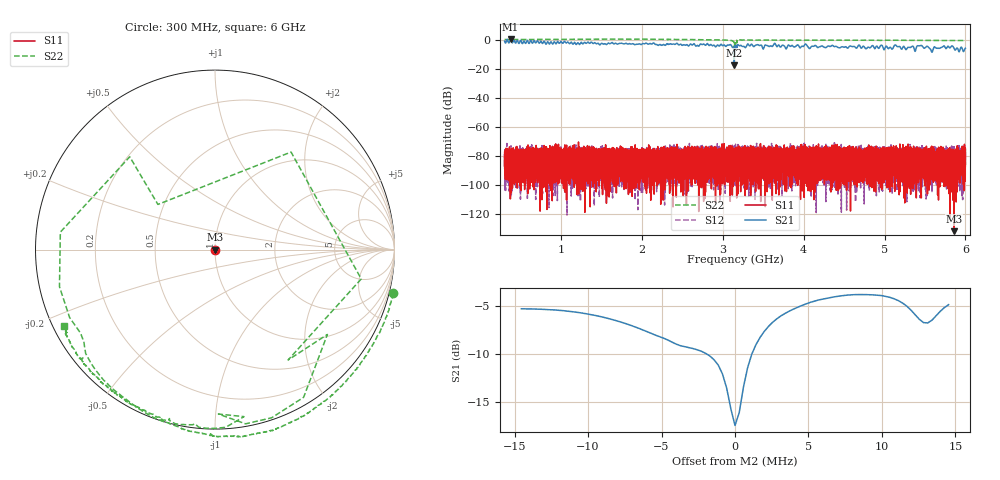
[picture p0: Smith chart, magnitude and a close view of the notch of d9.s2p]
!Agilent Technologies,N5230C,SG49000117,A.08.50.07
!Agilent N5230C: A.08.50.07
!Date: Monday, March 18, 2024 18:09:14
!Correction: S11(Off)
!S21(Off)
!S12(Off)
!S22(Full 1 Port(2))
!S2P File: Measurements: S11, S21, S12, S22:
# Hz S  RI  R 50
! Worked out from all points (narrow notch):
!   20001 points, 300 MHz to 6 GHz, reference 50 ohm
!   highest |S21| = 0.43 dB at 373.8 MHz (marker M1); lowest = -17.5 dB at 3.141 GHz (marker M2)
!   notch at M2: 13.7 dB deep, 2.43 MHz wide at half that depth
!   lowest |S11| = -132.1 dB at 5.859 GHz (marker M3), VSWR 1.00, Z = 50 - j1.95e-05 ohm
!   |S11| at or under -10 dB: start of sweep to end of sweep
!   |S22| runs from -13.2 to 0.5 dB; largest |S21 - S12| = 1.1
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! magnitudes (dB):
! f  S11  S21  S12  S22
! 300 MHz  -81.6  -1.0  -86.7  0.2
! 373.8 MHz  -78.6  0.4  -81.7  0.2
! 1.25 GHz  -79.2  -1.8  -80.3  0.4
! 2.2 GHz  -83.6  -3.9  -79.6  0.4
! 3.078 GHz  -86.1  -3.6  -81.7  -0.3
! 3.141 GHz  -81.8  -17.5  -80.1  -9.8
! 3.15 GHz  -85.3  -3.8  -78.3  -1.5
! 3.188 GHz  -82.7  -3.3  -83.5  0.0
! 3.264 GHz  -82.3  -4.7  -89.8  -0.1
! 3.331 GHz  -78.3  -4.2  -83.7  -0.2
! 3.488 GHz  -94.3  -5.0  -75.7  -0.2
! 3.637 GHz  -87.3  -2.5  -81.9  -0.2
! 4.1 GHz  -82.5  -4.4  -82.9  -0.2
! 5.05 GHz  -86.7  -6.1  -104.3  -0.3
! 5.142 GHz  -91.8  -3.8  -91.6  -0.3
! 5.377 GHz  -78.3  -7.9  -85.2  -0.3
! 5.435 GHz  -83.0  -4.2  -77.5  -0.4
! 5.537 GHz  -76.2  -4.8  -75.0  -0.4
! 5.577 GHz  -83.0  -7.6  -89.1  -0.4
! 5.721 GHz  -80.5  -4.7  -76.8  -0.5
! 5.859 GHz  -132.1  -5.9  -73.2  -0.5
! 6 GHz  -86.1  -5.8  -82.8  -0.5
